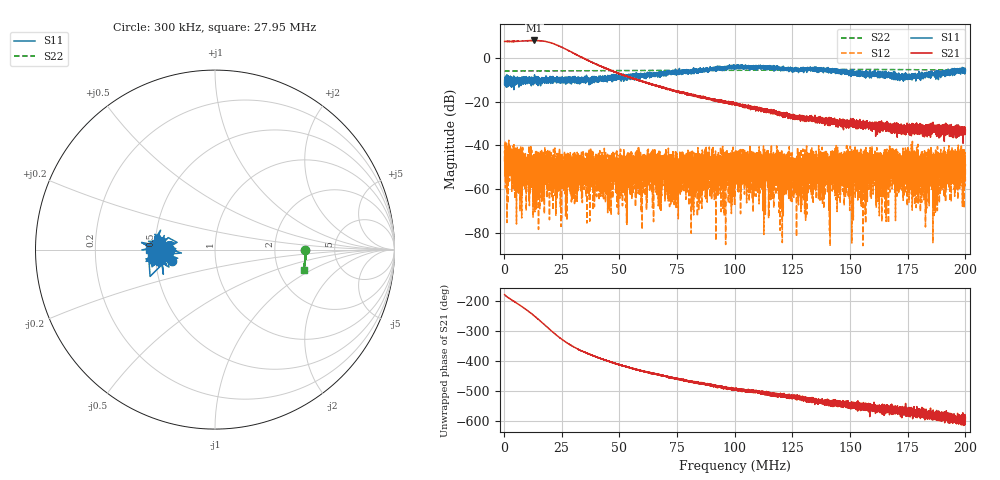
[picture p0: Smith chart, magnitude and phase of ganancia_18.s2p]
# Hz S DB R 50
! CMT, M5065, 19127446, 24.2.4/2
! Date: 10/29/2024 12:13:16 PM
! Data: Format (Calibration Info)
! Freq	S11:dB/Ang(F2)	S21:dB/Ang(F2)	S12:dB/Ang(F2)	S22:dB/Ang(F2)
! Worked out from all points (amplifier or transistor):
!   9000 points, 300 kHz to 200 MHz, reference 50 ohm
!   highest |S21| = 8.0 dB at 13.15 MHz (marker M1)
!   |S21| within 3 dB of that: start of sweep to 24.84 MHz
!   unconditionally stable (mu >= 1): start of sweep to end of sweep
!   at 33.59 MHz: K = 340.38, MAG = 2.1 dB, |S12| = -60.6 dB
!   at 100.2 MHz: K = 376.60, MAG = -17.6 dB, |S12| = -43.5 dB
!   at 200 MHz: K = 3068.47, MAG = -30.1 dB, |S12| = -48.6 dB
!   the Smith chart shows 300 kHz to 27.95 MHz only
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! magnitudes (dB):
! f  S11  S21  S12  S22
! 300 kHz  -12.0  7.6  -47.4  -6.0
! 13.15 MHz  -9.5  8.0  -44.6  -5.9
! 33.59 MHz  -10.0  0.4  -60.6  -5.9
! 45.5 MHz  -9.9  -5.3  -56.3  -5.8
! 47.21 MHz  -8.4  -6.1  -60.2  -5.8
! 52.29 MHz  -8.1  -8.1  -45.8  -5.7
! 57.58 MHz  -7.9  -10.0  -49.5  -5.7
! 59.64 MHz  -7.6  -10.6  -56.5  -5.7
! 64.46 MHz  -7.0  -12.1  -58.1  -5.7
! 66.87 MHz  -7.8  -12.9  -53.5  -5.7
! 100.2 MHz  -4.1  -21.1  -43.5  -5.6
! 129.4 MHz  -5.9  -27.0  -46.1  -5.4
! 133.4 MHz  -4.6  -27.3  -41.2  -5.3
! 141 MHz  -6.0  -28.7  -49.6  -5.3
! 152.7 MHz  -8.0  -30.9  -56.8  -5.3
! 155.8 MHz  -7.1  -30.3  -42.8  -5.3
! 157.8 MHz  -7.3  -30.8  -53.9  -5.3
! 163 MHz  -6.1  -31.1  -59.0  -5.3
! 166.7 MHz  -7.5  -33.6  -44.1  -5.3
! 181.6 MHz  -7.7  -30.7  -49.3  -5.4
! 183.6 MHz  -8.0  -33.2  -56.1  -5.4
! 200 MHz  -5.5  -33.0  -48.6  -5.5
